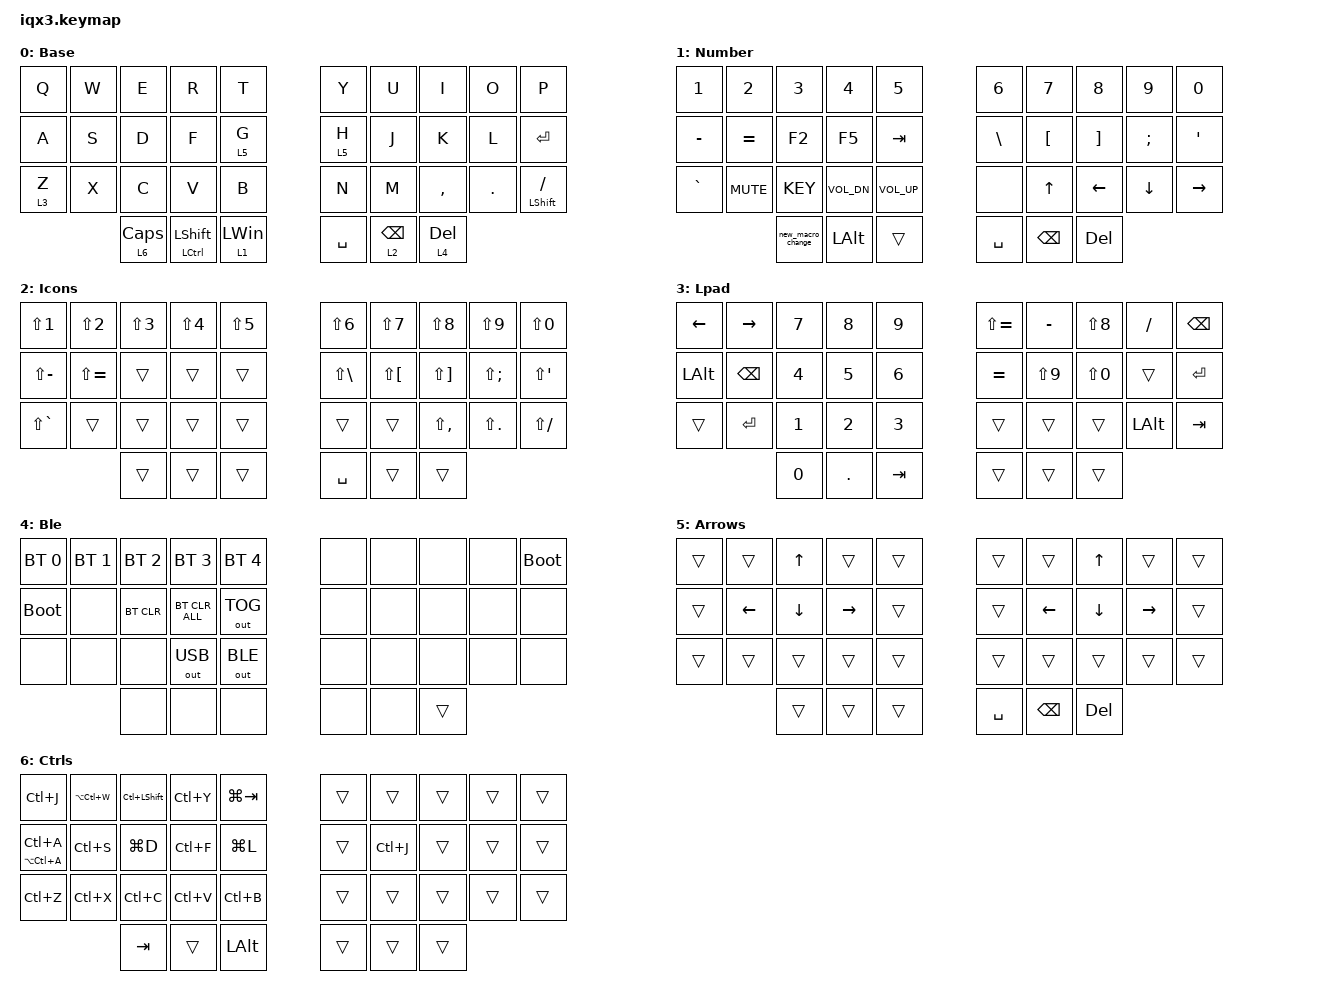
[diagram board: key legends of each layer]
/*
 * Copyright (c) 2020 The ZMK Contributors
 *
 * SPDX-License-Identifier: MIT
 */

#include <behaviors.dtsi>
#include <dt-bindings/zmk/bt.h>
#include <dt-bindings/zmk/keys.h>
#include <dt-bindings/zmk/outputs.h>

/ {
    behaviors {
        tab_esc_ctrl: tab_esc_ctrl {
            compatible = "zmk,behavior-tap-dance";
            label = "TAB_ESC_CTRL";
            #binding-cells = <0>;
            bindings = <&mt LCTRL ESC>, <&kp TAB>;
        };

        gqt: global-quick-tap {
            compatible = "zmk,behavior-hold-tap";
            label = "GLOBAL_QUICK_TAP";
            bindings = <&kp>, <&kp>;

            #binding-cells = <2>;
            quick-tap-ms = <180>;
            tapping-term-ms = <200>;
            global-quick-tap;
            flavor = "tap-preferred";
        };

        ltq: ltq {
            compatible = "zmk,behavior-hold-tap";
            label = "LTQ";
            bindings = <&mo>, <&kp>;

            #binding-cells = <2>;
            global-quick-tap;
            tapping-term-ms = <200>;
            quick-tap-ms = <180>;
            flavor = "tap-preferred";
        };
    };

    combos {
        compatible = "zmk,combos";

        left_bkt {
            bindings = <&kp ESC>;
            key-positions = <0 1>;
            timeout-ms = <50>;
        };

        right_bkt {
            bindings = <&kp BACKSPACE>;
            key-positions = <8 9>;
            timeout-ms = <50>;
        };

        left_par {
            bindings = <&kp ENTER>;
            key-positions = <18 19>;
            timeout-ms = <50>;
        };

        right_par {
            bindings = <&kp PAGE_UP>;
            key-positions = <6 7>;
            timeout-ms = <50>;
        };

        left_brace {
            bindings = <&kp PG_DN>;
            key-positions = <16 17>;
            timeout-ms = <50>;
        };

        right_brace {
            bindings = <&kp HOME>;
            key-positions = <2 3>;
            timeout-ms = <50>;
        };

        bac {
            bindings = <&kp END>;
            key-positions = <12 13>;
        };

        pipe {
            bindings = <&kp LS(N9)>;
            key-positions = <7 8>;
        };

        youkouhao {
            bindings = <&kp LS(N0)>;
            key-positions = <17 18>;
        };

        del {
            bindings = <&kp DELETE>;
            key-positions = <10 11>;
        };

        caps {
            bindings = <&kp CAPSLOCK>;
            key-positions = <20 21>;
        };

        tab {
            bindings = <&kp TAB>;
            key-positions = <28 29>;
        };
    };

    macros {
        KEY: new_macro {
            compatible = "zmk,behavior-macro";
            #binding-cells = <0>;
            bindings = <&kp LS(C) &kp H &kp L &kp DOT &kp N8 &kp N8 &kp N0 &kp N6 &kp N0 &kp N2 &kp AMPS &kp STAR &kp LPAR &kp RET>;
            label = "NEW_MACRO";
        };

        new_macro_change: new_macro_change {
            compatible = "zmk,behavior-macro";
            #binding-cells = <0>;
            bindings = <&kp LS(C) &kp H &kp L &kp DOT &kp N8 &kp N8 &kp N0 &kp N6 &kp N0 &kp N2 &kp PRCNT &kp CARET &kp AMPS &kp STAR &kp LPAR &kp RPAR &kp RET>;
            label = "NEW_MACRO_CHANGE";
        };
    };

    keymap {
        compatible = "zmk,keymap";

        Base {
            label = "Base";
            bindings = <
  &kp Q    &kp W  &kp E           &kp R                  &kp T           &kp Y      &kp U             &kp I         &kp O    &kp P
  &kp A    &kp S  &kp D           &kp F                  &lt 5 G         &lt 5 H    &kp J             &kp K         &kp L    &kp ENTER
  &lt 3 Z  &kp X  &kp C           &kp V                  &kp B           &kp N      &kp M             &kp COMMA     &kp DOT  &mt LEFT_SHIFT SLASH
                  &lt 6 CAPSLOCK  &gqt LCTRL LEFT_SHIFT  &lt 1 LEFT_WIN  &kp SPACE  &ltq 2 BACKSPACE  &lt 4 DELETE
            >;
        };

        Number {
            label = "Number";
            bindings = <
  &kp N1     &kp N2      &kp N3             &kp N4        &kp N5           &kp N6     &kp N7        &kp N8      &kp N9    &kp N0
  &kp MINUS  &kp EQUAL   &kp F2             &kp F5        &kp TAB          &kp BSLH   &kp LBKT      &kp RBKT    &kp SEMI  &kp APOS
  &kp GRAVE  &kp C_MUTE  &KEY               &kp C_VOL_DN  &kp C_VOLUME_UP  &none      &kp UP_ARROW  &kp LEFT    &kp DOWN  &kp RIGHT
                         &new_macro_change  &kp LEFT_ALT  &trans           &kp SPACE  &kp BSPC      &kp DELETE
            >;
        };

        Icons {
            label = "Icons";
            bindings = <
  &kp LS(N1)     &kp LS(N2)     &kp LS(N3)  &kp LS(N4)  &kp LS(N5)  &kp LS(N6)    &kp LS(N7)    &kp LS(N8)     &kp LS(N9)    &kp LS(N0)
  &kp LS(MINUS)  &kp LS(EQUAL)  &trans      &trans      &trans      &kp LS(BSLH)  &kp LS(LBKT)  &kp LS(RBKT)   &kp LS(SEMI)  &kp LS(APOS)
  &kp LS(GRAVE)  &trans         &trans      &trans      &trans      &trans        &trans        &kp LS(COMMA)  &kp LS(DOT)   &kp LS(FSLH)
                                &trans      &trans      &trans      &kp SPACE     &trans        &trans
            >;
        };

        Lpad {
            label = "Lpad";
            bindings = <
  &kp LEFT      &kp RIGHT  &kp N7  &kp N8   &kp N9   &kp LS(EQUAL)  &kp MINUS   &kp LS(N8)  &kp FSLH      &kp BSPC
  &kp LEFT_ALT  &kp BSPC   &kp N4  &kp N5   &kp N6   &kp EQUAL      &kp LS(N9)  &kp LS(N0)  &trans        &kp ENTER
  &trans        &kp RET    &kp N1  &kp N2   &kp N3   &trans         &trans      &trans      &kp LEFT_ALT  &kp TAB
                           &kp N0  &kp DOT  &kp TAB  &trans         &trans      &trans
            >;
        };

        Ble {
            label = "Ble";
            bindings = <
  &bt BT_SEL 0  &bt BT_SEL 1  &bt BT_SEL 2  &bt BT_SEL 3    &bt BT_SEL 4  &none  &none  &none   &none  &bootloader
  &bootloader   &none         &bt BT_CLR    &bt BT_CLR_ALL  &out OUT_TOG  &none  &none  &none   &none  &none
  &none         &none         &none         &out OUT_USB    &out OUT_BLE  &none  &none  &none   &none  &none
                              &none         &none           &none         &none  &none  &trans
            >;
        };

        Arrows {
            label = "Arrows";
            bindings = <
  &trans  &trans    &kp UP    &trans     &trans  &trans     &trans         &kp UP    &trans     &trans
  &trans  &kp LEFT  &kp DOWN  &kp RIGHT  &trans  &trans     &kp LEFT       &kp DOWN  &kp RIGHT  &trans
  &trans  &trans    &trans    &trans     &trans  &trans     &trans         &trans    &trans     &trans
                    &trans    &trans     &trans  &kp SPACE  &kp BACKSPACE  &kp DEL
            >;
        };

        Ctrls {
            label = "Ctrls";
            bindings = <
  &kp LC(J)            &kp LA(LC(W))  &kp LC(LSHFT)  &kp LC(Y)  &kp LG(TAB)   &trans  &trans     &trans  &trans  &trans
  &mt LA(LC(A)) LC(A)  &kp LC(S)      &kp LG(D)      &kp LC(F)  &kp LG(L)     &trans  &kp LC(J)  &trans  &trans  &trans
  &kp LC(Z)            &kp LC(X)      &kp LC(C)      &kp LC(V)  &kp LC(B)     &trans  &trans     &trans  &trans  &trans
                                      &kp TAB        &trans     &kp LEFT_ALT  &trans  &trans     &trans
            >;
        };
    };
};
